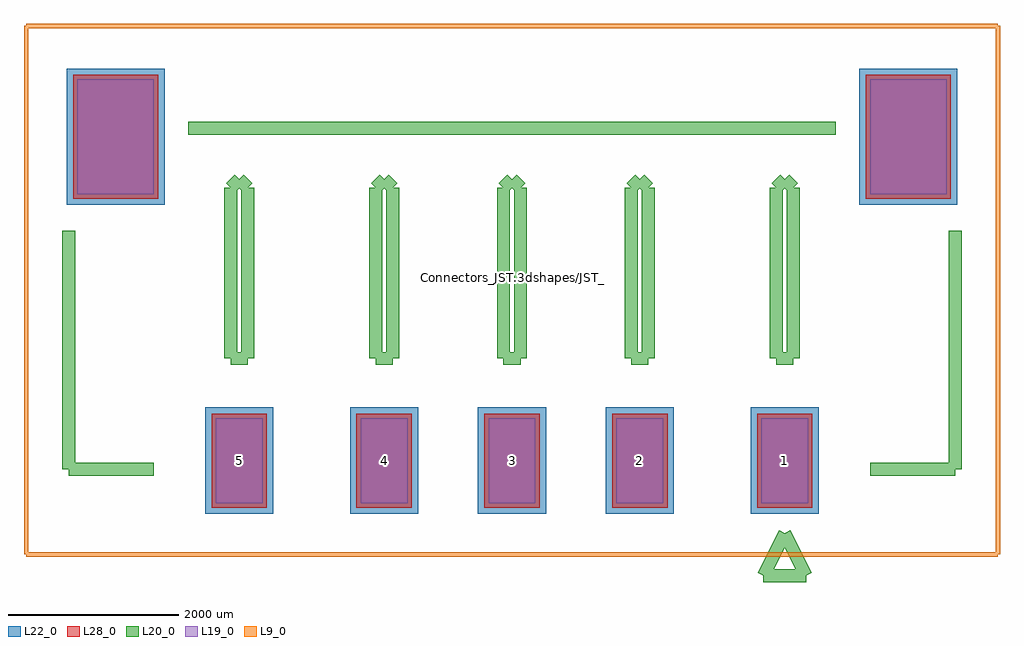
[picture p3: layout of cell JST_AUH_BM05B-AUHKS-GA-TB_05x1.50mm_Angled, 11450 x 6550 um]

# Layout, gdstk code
import gdstk
lib = gdstk.Library(unit=1e-6, precision=1e-09)
def R(c, l, rs):  # rectangles x0, y0, x1, y1
    for r in rs: c.add(gdstk.rectangle(r[:2], r[2:], *l))
def A(c, l, x, y, w, h, nx, ny, dx, dy):  # array of equal rectangles
    R(c, l, [(x+i*dx, y+j*dy, x+i*dx+w, y+j*dy+h) for i in range(nx) for j in range(ny)])
L9_0 = (9, 0)
L19_0 = (19, 0)
L20_0 = (20, 0)
L22_0 = (22, 0)
L28_0 = (28, 0)

jst_auh_bm05b_auhks_ga_t = lib.new_cell('JST_AUH_BM05B-AUHKS-GA-TB_05x1.50mm_Angled')
A(jst_auh_bm05b_auhks_ga_t, L19_0, -1775, -2400, 550, 1000, 3, 1, 1500, 0)
R(jst_auh_bm05b_auhks_ga_t, L19_0, [(-3475,-2400,-2925,-1400), (2925,-2400,3475,-1400), (-5100,1225,-4200,2575), (4200,1225,5100,2575)])
A(jst_auh_bm05b_auhks_ga_t, L22_0, -1900, -2525, 800, 1250, 3, 1, 1500, 0)
R(jst_auh_bm05b_auhks_ga_t, L22_0, [(-3600,-2525,-2800,-1275), (2800,-2525,3600,-1275), (-5225,1100,-4075,2700), (4075,1100,5225,2700)])
A(jst_auh_bm05b_auhks_ga_t, L28_0, -1825, -2450, 650, 1100, 3, 1, 1500, 0)
R(jst_auh_bm05b_auhks_ga_t, L28_0, [(-3525,-2450,-2875,-1350), (2875,-2450,3525,-1350), (-5150,1175,-4150,2625), (4150,1175,5150,2625)])
jst_auh_bm05b_auhks_ga_t.add(gdstk.FlexPath([(3200,1400),(3300,1300)], 149.998, ends="flush", simple_path=True, layer=20, datatype=0))  # L20_0
jst_auh_bm05b_auhks_ga_t.add(gdstk.FlexPath([(3100,1300),(3200,1400)], 149.998, ends="flush", simple_path=True, layer=20, datatype=0))  # L20_0
jst_auh_bm05b_auhks_ga_t.add(gdstk.FlexPath([(3300,-700),(3100,-700)], 149.998, ends="flush", simple_path=True, layer=20, datatype=0))  # L20_0
jst_auh_bm05b_auhks_ga_t.add(gdstk.FlexPath([(3100,-700),(3100,1300)], 149.998, ends="flush", simple_path=True, layer=20, datatype=0))  # L20_0
jst_auh_bm05b_auhks_ga_t.add(gdstk.FlexPath([(3300,1300),(3300,-700)], 149.998, ends="flush", simple_path=True, layer=20, datatype=0))  # L20_0
jst_auh_bm05b_auhks_ga_t.add(gdstk.FlexPath([(1500,1400),(1600,1300)], 149.998, ends="flush", simple_path=True, layer=20, datatype=0))  # L20_0
jst_auh_bm05b_auhks_ga_t.add(gdstk.FlexPath([(1400,1300),(1500,1400)], 149.998, ends="flush", simple_path=True, layer=20, datatype=0))  # L20_0
jst_auh_bm05b_auhks_ga_t.add(gdstk.FlexPath([(1600,-700),(1400,-700)], 149.998, ends="flush", simple_path=True, layer=20, datatype=0))  # L20_0
jst_auh_bm05b_auhks_ga_t.add(gdstk.FlexPath([(1400,-700),(1400,1300)], 149.998, ends="flush", simple_path=True, layer=20, datatype=0))  # L20_0
jst_auh_bm05b_auhks_ga_t.add(gdstk.FlexPath([(1600,1300),(1600,-700)], 149.998, ends="flush", simple_path=True, layer=20, datatype=0))  # L20_0
jst_auh_bm05b_auhks_ga_t.add(gdstk.FlexPath([(0,1400),(100,1300)], 149.998, ends="flush", simple_path=True, layer=20, datatype=0))  # L20_0
jst_auh_bm05b_auhks_ga_t.add(gdstk.FlexPath([(-100,1300),(0,1400)], 149.998, ends="flush", simple_path=True, layer=20, datatype=0))  # L20_0
jst_auh_bm05b_auhks_ga_t.add(gdstk.FlexPath([(100,-700),(-100,-700)], 149.998, ends="flush", simple_path=True, layer=20, datatype=0))  # L20_0
jst_auh_bm05b_auhks_ga_t.add(gdstk.FlexPath([(-100,-700),(-100,1300)], 149.998, ends="flush", simple_path=True, layer=20, datatype=0))  # L20_0
jst_auh_bm05b_auhks_ga_t.add(gdstk.FlexPath([(100,1300),(100,-700)], 149.998, ends="flush", simple_path=True, layer=20, datatype=0))  # L20_0
jst_auh_bm05b_auhks_ga_t.add(gdstk.FlexPath([(-1500,1400),(-1400,1300)], 149.998, ends="flush", simple_path=True, layer=20, datatype=0))  # L20_0
jst_auh_bm05b_auhks_ga_t.add(gdstk.FlexPath([(-1600,1300),(-1500,1400)], 149.998, ends="flush", simple_path=True, layer=20, datatype=0))  # L20_0
jst_auh_bm05b_auhks_ga_t.add(gdstk.FlexPath([(-1400,-700),(-1600,-700)], 149.998, ends="flush", simple_path=True, layer=20, datatype=0))  # L20_0
jst_auh_bm05b_auhks_ga_t.add(gdstk.FlexPath([(-1600,-700),(-1600,1300)], 149.998, ends="flush", simple_path=True, layer=20, datatype=0))  # L20_0
jst_auh_bm05b_auhks_ga_t.add(gdstk.FlexPath([(-1400,1300),(-1400,-700)], 149.998, ends="flush", simple_path=True, layer=20, datatype=0))  # L20_0
jst_auh_bm05b_auhks_ga_t.add(gdstk.FlexPath([(4200,-2000),(5200,-2000)], 149.998, ends="flush", simple_path=True, layer=20, datatype=0))  # L20_0
jst_auh_bm05b_auhks_ga_t.add(gdstk.FlexPath([(5200,-2000),(5200,800)], 149.998, ends="flush", simple_path=True, layer=20, datatype=0))  # L20_0
jst_auh_bm05b_auhks_ga_t.add(gdstk.FlexPath([(-4200,-2000),(-5200,-2000)], 149.998, ends="flush", simple_path=True, layer=20, datatype=0))  # L20_0
jst_auh_bm05b_auhks_ga_t.add(gdstk.FlexPath([(-5200,-2000),(-5200,800)], 149.998, ends="flush", simple_path=True, layer=20, datatype=0))  # L20_0
jst_auh_bm05b_auhks_ga_t.add(gdstk.FlexPath([(3800,2000),(-3800,2000)], 149.998, ends="flush", simple_path=True, layer=20, datatype=0))  # L20_0
jst_auh_bm05b_auhks_ga_t.add(gdstk.FlexPath([(-3100,-700),(-3300,-700)], 149.998, ends="flush", simple_path=True, layer=20, datatype=0))  # L20_0
jst_auh_bm05b_auhks_ga_t.add(gdstk.FlexPath([(-3300,-700),(-3300,1300)], 149.998, ends="flush", simple_path=True, layer=20, datatype=0))  # L20_0
jst_auh_bm05b_auhks_ga_t.add(gdstk.FlexPath([(-3300,1300),(-3200,1400)], 149.998, ends="flush", simple_path=True, layer=20, datatype=0))  # L20_0
jst_auh_bm05b_auhks_ga_t.add(gdstk.FlexPath([(-3200,1400),(-3100,1300)], 149.998, ends="flush", simple_path=True, layer=20, datatype=0))  # L20_0
jst_auh_bm05b_auhks_ga_t.add(gdstk.FlexPath([(-3100,1300),(-3100,-700)], 149.998, ends="flush", simple_path=True, layer=20, datatype=0))  # L20_0
jst_auh_bm05b_auhks_ga_t.add(gdstk.FlexPath([(3200,-2750),(2950,-3250)], 149.998, ends="flush", simple_path=True, layer=20, datatype=0))  # L20_0
jst_auh_bm05b_auhks_ga_t.add(gdstk.FlexPath([(2950,-3250),(3450,-3250)], 149.998, ends="flush", simple_path=True, layer=20, datatype=0))  # L20_0
jst_auh_bm05b_auhks_ga_t.add(gdstk.FlexPath([(3450,-3250),(3200,-2750)], 149.998, ends="flush", simple_path=True, layer=20, datatype=0))  # L20_0
jst_auh_bm05b_auhks_ga_t.add(gdstk.FlexPath([(5700,3200),(-5700,3200)], 50, ends="flush", simple_path=True, layer=9, datatype=0))  # L9_0
jst_auh_bm05b_auhks_ga_t.add(gdstk.FlexPath([(-5700,3200),(-5700,-3000)], 50, ends="flush", simple_path=True, layer=9, datatype=0))  # L9_0
jst_auh_bm05b_auhks_ga_t.add(gdstk.FlexPath([(-5700,-3000),(5700,-3000)], 50, ends="flush", simple_path=True, layer=9, datatype=0))  # L9_0
jst_auh_bm05b_auhks_ga_t.add(gdstk.FlexPath([(5700,-3000),(5700,3200)], 50, ends="flush", simple_path=True, layer=9, datatype=0))  # L9_0
jst_auh_bm05b_auhks_ga_t.add(gdstk.Label('Connectors_JST.3dshapes/JST_AUH_BM05B-AUHKS-GA-TB_05x1.50mm_Angled.wrl', (0,254), layer=12, texttype=0))
jst_auh_bm05b_auhks_ga_t.add(gdstk.Label('5', (-3200,-1900), layer=28, texttype=0))
jst_auh_bm05b_auhks_ga_t.add(gdstk.Label('4', (-1500,-1900), layer=28, texttype=0))
jst_auh_bm05b_auhks_ga_t.add(gdstk.Label('3', (0,-1900), layer=28, texttype=0))
jst_auh_bm05b_auhks_ga_t.add(gdstk.Label('2', (1500,-1900), layer=28, texttype=0))
jst_auh_bm05b_auhks_ga_t.add(gdstk.Label('1', (3200,-1900), layer=28, texttype=0))
jst_auh_bm05b_auhks_ga_t.add(gdstk.Label('type', (0,4000), layer=9, texttype=0))
jst_auh_bm05b_auhks_ga_t.add(gdstk.Label('devicename', (0,-4500), layer=9, texttype=0))

lib.write_gds('JST_AUH_BM05B-AUHKS-GA-TB_05x1.50mm_Angled.gds')
